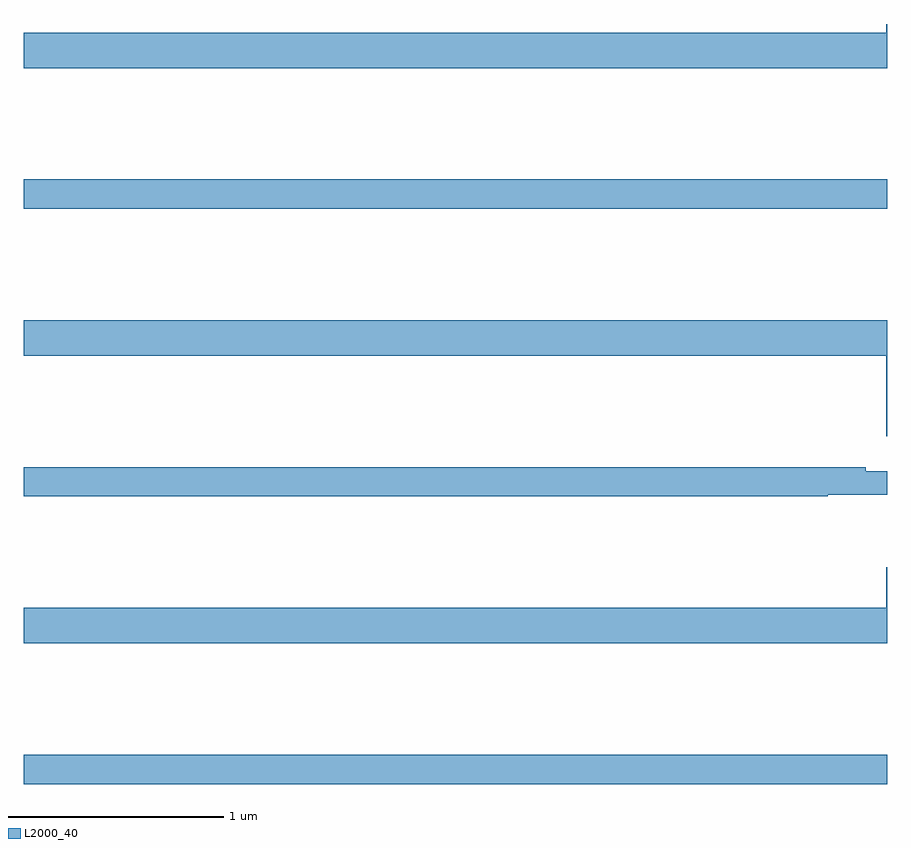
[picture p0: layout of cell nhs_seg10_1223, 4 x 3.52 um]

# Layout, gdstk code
import gdstk
lib = gdstk.Library(unit=1e-6, precision=1e-09)
def R(c, l, rs):  # rectangles x0, y0, x1, y1
    for r in rs: c.add(gdstk.rectangle(r[:2], r[2:], *l))
def P(c, l, *ps):  # polygons
    for p in ps: c.add(gdstk.Polygon(p, *l))
L2000_40 = (2000, 40)

nhs_seg10_1223 = lib.new_cell('nhs_seg10_1223')
R(nhs_seg10_1223, L2000_40, [(173,1316.98,177,1317.116), (173,1319.644,177,1319.78)])
P(nhs_seg10_1223, L2000_40, [(177,1320.5),(176.996,1320.5),(176.996,1320.46),(173,1320.46),(173,1320.296),(177,1320.296)],
  [(177,1319.128),(173,1319.128),(173,1318.964),(176.996,1318.964),(176.996,1318.59),(177,1318.59)],
  [(176.725,1318.32),(177,1318.32),(177,1318.429),(176.9,1318.429),(176.9,1318.448),(173,1318.448),(173,1318.312),(176.725,1318.312)],
  [(177,1317.985),(176.996,1317.985),(176.996,1317.796),(173,1317.796),(173,1317.632),(177,1317.632)])

lib.write_gds('nhs_seg10_1223.gds')
